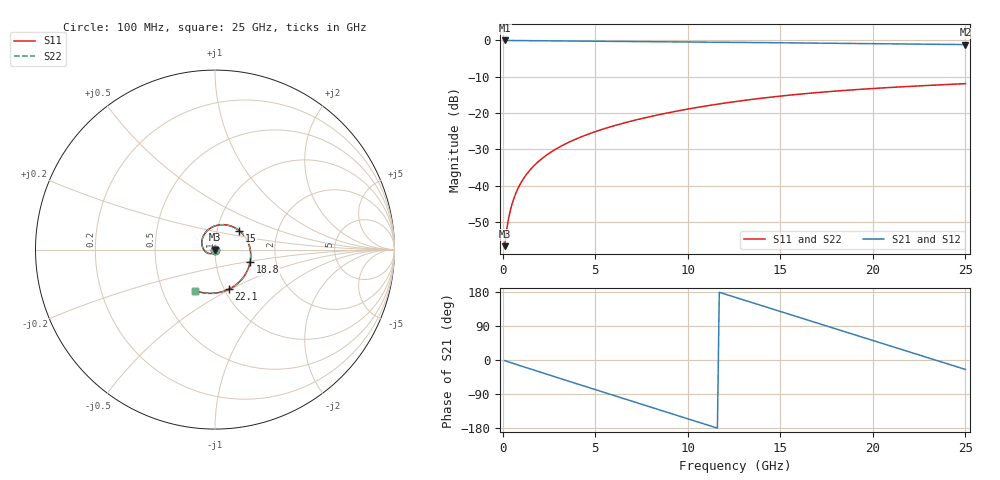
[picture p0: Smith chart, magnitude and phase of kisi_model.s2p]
! kisi P_ts6_pad: fast channel model (formula impedances, via model), up to 25 GHz
# Hz S RI R 50
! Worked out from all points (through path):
!   250 points, 100 MHz to 25 GHz, reference 50 ohm
!   highest |S21| = -0.01 dB at 100 MHz (marker M1); lowest = -1.1 dB at 25 GHz (marker M2)
!   group delay of S21, straight-line fit = 42.7 ps
!   lowest |S11| = -56.6 dB at 100 MHz (marker M3), VSWR 1.00, Z = 50.1 - j0.1 ohm
!   |S11| at or under -10 dB: start of sweep to end of sweep
!   |S22| runs from -56.6 to -11.9 dB; largest |S21 - S12| = 0
!   S11 on the Smith chart (normalised r, x): 100 MHz: 1.00, -0.00; 15 GHz: 1.28, +0.28; 18.8 GHz: 1.47, -0.22; 22.1 GHz: 1.05, -0.49; 25 GHz: 0.73, -0.35
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1e8  0.00108 -0.001  0.998 -0.0286  0.998 -0.0286  0.00108 -0.001
3e8  0.00101 -0.00325  0.9936 -0.0844  0.9936 -0.0844  0.00101 -0.00325
5e8  0.000591 -0.00555  0.9863 -0.1392  0.9863 -0.1392  0.000591 -0.00555
8e8  -0.000616 -0.00891  0.9699 -0.2198  0.9699 -0.2198  -0.000616 -0.00891
1.2e9  -0.00317 -0.013  0.9381 -0.324  0.9381 -0.324  -0.00317 -0.013
2.4e9  -0.016 -0.0215  0.7798 -0.6048  0.7798 -0.6048  -0.016 -0.0215
4.3e9  -0.0445 -0.0173  0.3777 -0.9024  0.3777 -0.9024  -0.0445 -0.0173
5.3e9  -0.0586 -0.00542  0.1228 -0.9661  0.1228 -0.9661  -0.0586 -0.00542
6.3e9  -0.069 0.0127  -0.1383 -0.9595  -0.1383 -0.9595  -0.069 0.0127
8.4e9  -0.0695 0.064  -0.6245 -0.7291  -0.6245 -0.7291  -0.0695 0.064
1.05e10  -0.0323 0.1151  -0.9081 -0.2795  -0.9081 -0.2795  -0.0323 0.1151
1.15e10  -0.00145 0.1314  -0.9449 -0.0286  -0.9449 -0.0286  -0.00145 0.1314
1.26e10  0.0395 0.1388  -0.9072 0.2459  -0.9072 0.2459  0.0395 0.1388
1.38e10  0.0883 0.1311  -0.778 0.5165  -0.778 0.5165  0.0883 0.1311
1.5e10  0.1351 0.1053  -0.5713 0.7308  -0.5713 0.7308  0.1351 0.1053
1.67e10  0.1845 0.0396  -0.1907 0.8987  -0.1907 0.8987  0.1845 0.0396
1.77e10  0.1979 -0.0109  0.053 0.9119  0.053 0.9119  0.1979 -0.0109
1.88e10  0.1954 -0.0712  0.3127 0.8521  0.3127 0.8521  0.1954 -0.0712
2.09e10  0.1372 -0.1782  0.709 0.549  0.709 0.549  0.1372 -0.1782
2.21e10  0.0761 -0.221  0.84 0.2961  0.84 0.2961  0.0761 -0.221
2.35e10  -0.0116 -0.2435  0.8832 -0.0305  0.8832 -0.0305  -0.0116 -0.2435
2.5e10  -0.1115 -0.2285  0.7948 -0.3691  0.7948 -0.3691  -0.1115 -0.2285
